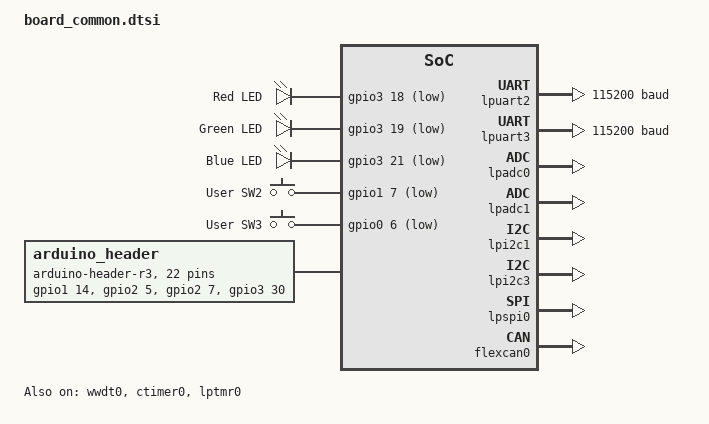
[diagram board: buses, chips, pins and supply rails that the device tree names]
/*
 * Copyright 2025 NXP
 *
 * SPDX-License-Identifier: Apache-2.0
 */

#include <zephyr/dt-bindings/input/input-event-codes.h>
#include <zephyr/dt-bindings/gpio/arduino-header-r3.h>

/ {
	compatible = "nxp,mcx";

	aliases {
		led0 = &red_led;
		led1 = &green_led;
		led2 = &blue_led;
		sw0 = &user_button_2;
		sw1 = &user_button_3;
		watchdog0 = &wwdt0;
		die-temp0 = &temp0;
	};

	chosen {
		zephyr,sram = &sram0;
		zephyr,flash = &flash;
		zephyr,flash-controller = &fmu;
		zephyr,code-partition = &slot0_partition;
		zephyr,console = &lpuart2;
		zephyr,shell-uart = &lpuart2;
		zephyr,cortex-m-idle-timer = &lptmr0;
		zephyr,canbus = &flexcan0;
	};

	leds {
		compatible = "gpio-leds";

		red_led: led_0 {
			gpios = <&gpio3 18 GPIO_ACTIVE_LOW>;
			label = "Red LED";
		};

		green_led: led_1 {
			gpios = <&gpio3 19 GPIO_ACTIVE_LOW>;
			label = "Green LED";
		};

		blue_led: led_2 {
			gpios = <&gpio3 21 GPIO_ACTIVE_LOW>;
			label = "Blue LED";
		};
	};

	gpio_keys {
		compatible = "gpio-keys";

		user_button_2: button_2 {
			label = "User SW2";
			gpios = <&gpio1 7 GPIO_ACTIVE_LOW>;
			zephyr,code = <INPUT_KEY_0>;
		};

		user_button_3: button_3 {
			label = "User SW3";
			gpios = <&gpio0 6 GPIO_ACTIVE_LOW>;
			zephyr,code = <INPUT_KEY_1>;
		};
	};

	arduino_header: arduino-connector {
		compatible = "arduino-header-r3";
		#gpio-cells = <2>;
		gpio-map-mask = <0xffffffff 0xffffffc0>;
		gpio-map-pass-thru = <0 0x3f>;
		gpio-map = <ARDUINO_HEADER_R3_A0 0 &gpio1 14 0>,
			   <ARDUINO_HEADER_R3_A1 0 &gpio2 5 0>,
			   <ARDUINO_HEADER_R3_A2 0 &gpio2 7 0>,
			   <ARDUINO_HEADER_R3_A3 0 &gpio3 30 0>,
			   <ARDUINO_HEADER_R3_A4 0 &gpio1 0 0>,
			   <ARDUINO_HEADER_R3_A5 0 &gpio1 1 0>,
			   <ARDUINO_HEADER_R3_D0 0 &gpio2 3 0>,   /* GPIO, Not a RX */
			   <ARDUINO_HEADER_R3_D1 0 &gpio2 2 0>,   /* GPIO, Not a TX */
			   <ARDUINO_HEADER_R3_D2 0 &gpio3 31 0>,
			   <ARDUINO_HEADER_R3_D3 0 &gpio3 14 0>,
			   <ARDUINO_HEADER_R3_D4 0 &gpio4 7 0>,
			   <ARDUINO_HEADER_R3_D5 0 &gpio3 1 0>,
			   <ARDUINO_HEADER_R3_D6 0 &gpio3 17 0>,
			   <ARDUINO_HEADER_R3_D7 0 &gpio3 22 0>,
			   <ARDUINO_HEADER_R3_D8 0 &gpio4 3 0>,
			   <ARDUINO_HEADER_R3_D9 0 &gpio3 13 0>,
			   <ARDUINO_HEADER_R3_D10 0 &gpio3 11 0>,  /* CS */
			   <ARDUINO_HEADER_R3_D11 0 &gpio3 8 0>, /* MOSI */
			   <ARDUINO_HEADER_R3_D12 0 &gpio3 9 0>, /* MISO */
			   <ARDUINO_HEADER_R3_D13 0 &gpio3 10 0>, /* SCK */
			   <ARDUINO_HEADER_R3_D14 0 &gpio1 8 0>,  /* SDA */
			   <ARDUINO_HEADER_R3_D15 0 &gpio1 9 0>;  /* SCL */
	};
};

/* Port configurations */
&porta {
	status = "okay";
};

&portb {
	status = "okay";
};

&portc {
	status = "okay";
};

&portd {
	status = "okay";
};

&porte {
	status = "okay";
};

/* GPIO configurations */
&gpio0 {
	status = "okay";
};

&gpio1 {
	status = "okay";
};

&gpio2 {
	status = "okay";
};

&gpio3 {
	status = "okay";
};

&gpio4 {
	status = "okay";
};

/* UART configuration */
&lpuart2 {
	status = "okay";
	current-speed = <115200>;
	pinctrl-0 = <&pinmux_lpuart2>;
	pinctrl-names = "default";
};

&lpuart3 {
	current-speed = <115200>;
	pinctrl-0 = <&pinmux_lpuart3>;
	pinctrl-names = "default";
};

/* DMA configuration */
&edma0 {
	status = "okay";
};

/* ADC configuration */
&lpadc0 {
	status = "okay";
	pinctrl-0 = <&pinmux_lpadc0>;
	pinctrl-names = "default";
};

&lpadc1 {
	status = "okay";
	pinctrl-0 = <&pinmux_lpadc1>;
	pinctrl-names = "default";
};

/* I2C configurations */
&lpi2c1 {
	status = "okay";
	pinctrl-0 = <&pinmux_lpi2c1>;
	pinctrl-names = "default";
};

&lpi2c3 {
	status = "okay";
	pinctrl-0 = <&pinmux_lpi2c3>;
	pinctrl-names = "default";
};

/* SPI configuration */
&lpspi0 {
	status = "okay";
	pinctrl-0 = <&pinmux_lpspi0>;
	pinctrl-names = "default";
};

/* Flash partitions */
&flash {
	partitions {
		compatible = "fixed-partitions";
		#address-cells = <1>;
		#size-cells = <1>;

		boot_partition: partition@0 {
			label = "mcuboot";
			reg = <0x00000000 DT_SIZE_K(64)>;
			read-only;
		};

		slot0_partition: partition@10000 {
			label = "image-0";
			reg = <0x00010000 DT_SIZE_K(400)>;
		};

		slot1_partition: partition@74000 {
			label = "image-1";
			reg = <0x00074000 DT_SIZE_K(400)>;
		};

		storage_partition: partition@d8000 {
			label = "storage";
			reg = <0x000d8000 DT_SIZE_K(112)>;
		};
	};
};

/* Watchdog configuration */
&wwdt0 {
	status = "okay";
};

/* Timer configurations */
&ctimer0 {
	status = "okay";
};

&lptmr0 {
	status = "okay";
};

&flexcan0 {
	status = "okay";
	pinctrl-0 = <&pinmux_flexcan0>;
	pinctrl-names = "default";
};
